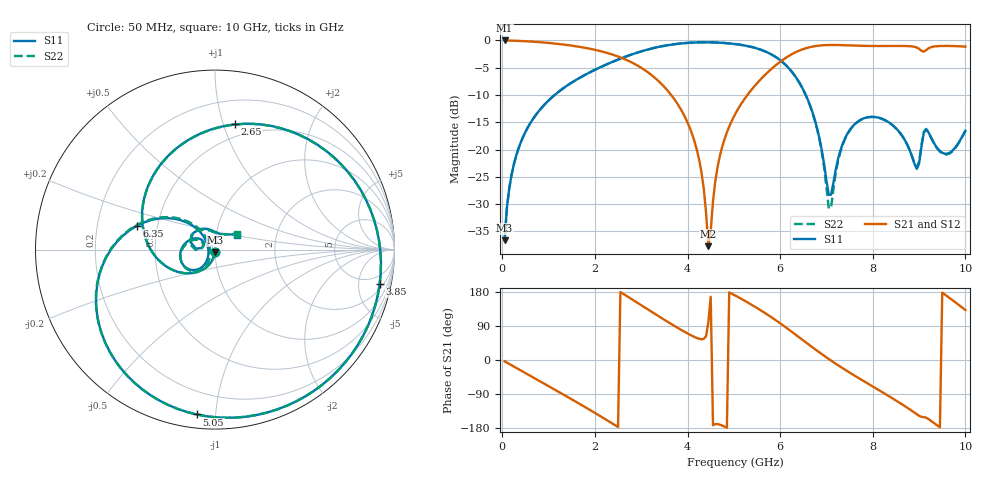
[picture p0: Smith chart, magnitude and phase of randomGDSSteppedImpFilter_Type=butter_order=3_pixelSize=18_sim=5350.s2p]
! freq	dB(S11)	phase(S11)	dB(S12)	phase(S12)
!  dB(S21)	phase(S21)	dB(S22)	phase(S22)
!S-par simulation data
#  GHz  S  DB  R 50
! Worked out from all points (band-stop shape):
!   200 points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, 50 MHz to 10 GHz, reference 50 ohm
!   highest |S21| = 0.00 dB at 50 MHz (marker M1); lowest = -37.7 dB at 4.45 GHz (marker M2)
!   |S21| within 3 dB of the highest: start of sweep to 2.518 GHz; 6.155 GHz to end of sweep
!   lowest |S11| = -36.6 dB at 50 MHz (marker M3), VSWR 1.03, Z = 49.9 - j1.47 ohm
!   |S11| at or under -10 dB: start of sweep to 1.13 GHz; 6.553 GHz to end of sweep
!   |S22| runs from -36.7 to -0.3 dB; largest |S21 - S12| = 0
!   S11 on the Smith chart (normalised r, x): 50 MHz: 1.00, -0.03; 2.65 GHz: 0.39, +1.09; 3.85 GHz: 2.77, -8.79; 5.05 GHz: 0.07, -0.89; 6.35 GHz: 0.38, +0.13; 10 GHz: 1.26, +0.21
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0.05  -36.65 -93.2  -0.00 -3.5  -0.00 -3.5  -36.65 -93.2
0.2  -24.63 -103.9  -0.04 -13.9  -0.04 -13.9  -24.63 -104.0
0.5  -16.76 -124.9  -0.14 -34.5  -0.14 -34.5  -16.76 -125.0
1.15  -9.86 -169.9  -0.58 -79.4  -0.58 -79.4  -9.86 -170.2
1.75  -6.48 147.8  -1.30 -121.6  -1.30 -121.6  -6.48 147.5
2.65  -3.01 80.9  -3.46 171.7  -3.46 171.7  -3.01 80.5
3.4  -1.14 22.4  -7.66 113.7  -7.66 113.7  -1.14 22.2
3.85  -0.56 -11.8  -12.55 80.3  -12.55 80.3  -0.56 -12.0
4.25  -0.36 -40.9  -21.82 56.0  -21.82 56.0  -0.36 -41.0
4.45  -0.35 -54.9  -37.70 99.9  -37.70 99.9  -0.35 -55.1
4.65  -0.40 -68.8  -23.14 -169.2  -23.14 -169.2  -0.40 -68.9
5.05  -0.68 -96.3  -13.17 168.9  -13.17 168.9  -0.68 -96.4
5.75  -2.30 -147.4  -5.69 117.8  -5.69 117.8  -2.30 -147.7
6.35  -6.87 162.8  -2.09 65.5  -2.09 65.5  -6.88 161.9
6.7  -13.22 136.1  -1.12 33.2  -1.12 33.2  -13.30 133.8
7.05  -28.29 169.0  -0.84 2.5  -0.84 2.5  -30.80 164.6
7.5  -16.44 -132.1  -0.91 -33.2  -0.91 -33.2  -16.52 -127.9
8.35  -15.03 172.5  -1.02 -95.5  -1.02 -95.5  -15.05 175.9
8.95  -23.54 157.9  -1.30 -143.1  -1.30 -143.1  -23.26 163.8
9.15  -16.29 144.1  -1.79 -152.1  -1.79 -152.1  -16.21 148.1
9.35  -19.21 100.0  -1.08 -168.9  -1.08 -168.9  -19.27 104.9
10  -16.55 34.0  -1.14 131.8  -1.14 131.8  -16.61 35.5
